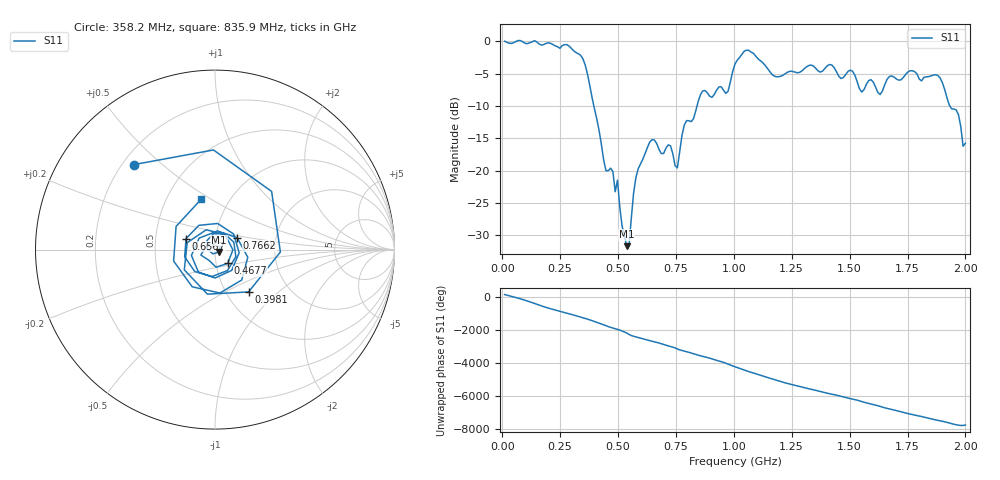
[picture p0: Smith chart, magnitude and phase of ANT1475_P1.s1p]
!Created with skrf (http://scikit-rf.org).
# Hz S RI R 50.0
!freq ReS11 ImS11
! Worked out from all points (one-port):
!   201 points, 10 MHz to 2 GHz, reference 50 ohm
!   lowest |S11| = -31.7 dB at 537.4 MHz (marker M1), VSWR 1.05, Z = 52.3 - j1.39 ohm
!   |S11| at or under -10 dB: 395.5 MHz to 841 MHz (445.5 MHz wide, 72.1 % of centre); 1.933 GHz to end of sweep
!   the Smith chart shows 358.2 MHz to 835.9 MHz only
!   S11 on the Smith chart (normalised r, x): 358.2 MHz: 0.24, +0.41; 398.1 MHz: 1.27, -0.66; 467.7 MHz: 1.14, -0.18; 656.8 MHz: 0.72, +0.09; 766.2 MHz: 1.27, +0.17; 835.9 MHz: 0.74, +0.45
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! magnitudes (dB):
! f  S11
! 10 MHz  0.0
! 258.8 MHz  -0.7
! 358.2 MHz  -3.7
! 398.1 MHz  -10.4
! 447.8 MHz  -20.0
! 467.7 MHz  -19.6
! 487.6 MHz  -23.3
! 497.6 MHz  -21.5
! 507.5 MHz  -25.7
! 537.4 MHz  -31.7
! 547.3 MHz  -31.5
! 577.1 MHz  -21.1
! 656.8 MHz  -15.3
! 726.4 MHz  -16.2
! 756.2 MHz  -19.6
! 766.2 MHz  -17.1
! 786.1 MHz  -12.9
! 835.9 MHz  -10.7
! 865.7 MHz  -7.7
! 975.1 MHz  -7.7
! 1.005 GHz  -3.5
! 1.065 GHz  -1.4
! 1.254 GHz  -4.6
! 1.502 GHz  -4.5
! 1.632 GHz  -8.2
! 1.751 GHz  -4.8
! 1.891 GHz  -5.7
! 2 GHz  -15.8
